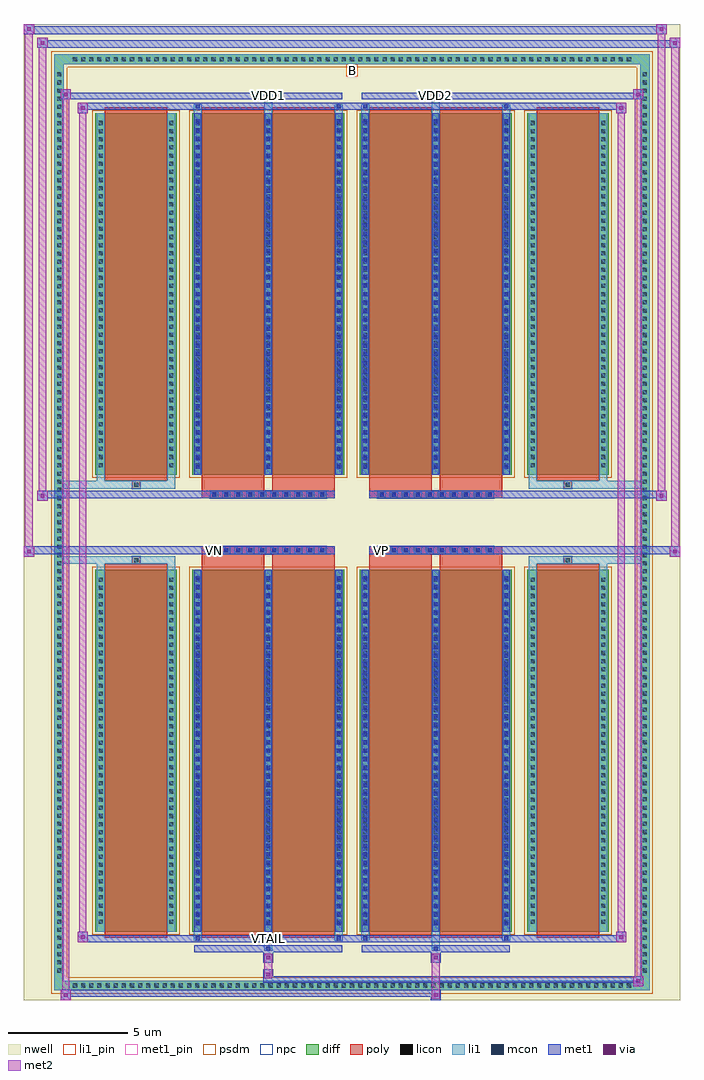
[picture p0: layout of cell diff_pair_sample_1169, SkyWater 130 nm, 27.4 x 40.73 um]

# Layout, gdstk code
import gdstk
lib = gdstk.Library(unit=1e-6, precision=5e-09)
def R(c, l, rs):  # rectangles x0, y0, x1, y1
    for r in rs: c.add(gdstk.rectangle(r[:2], r[2:], *l))
def A(c, l, x, y, w, h, nx, ny, dx, dy):  # array of equal rectangles
    R(c, l, [(x+i*dx, y+j*dy, x+i*dx+w, y+j*dy+h) for i in range(nx) for j in range(ny)])
def P(c, l, *ps):  # polygons
    for p in ps: c.add(gdstk.Polygon(p, *l))
nwell = (64, 20)
diff = (65, 20)
poly = (66, 20)
licon = (66, 44)
li1_pin = (67, 16)
li1 = (67, 20)
mcon = (67, 44)
met1_pin = (68, 16)
met1 = (68, 20)
via = (68, 44)
met2 = (69, 20)
psdm = (94, 20)
npc = (95, 20)

diff_pair_sample_1169 = lib.new_cell('diff_pair_sample_1169')
R(diff_pair_sample_1169, nwell, [(-13.7,-19.93,13.7,20.8), (-11.02,-18.12,-0.01,-0.8), (0.01,-18.12,11.02,-0.8), (-11.02,0.8,-0.01,18.12), (0.01,0.8,11.02,18.12)])
A(diff_pair_sample_1169, diff, -11.765, -19.53, 0.41, 0.41, 69, 2, 0.34, 38.65)
A(diff_pair_sample_1169, diff, -12.43, -18.905, 0.41, 0.41, 1, 111, 0, 0.34)
A(diff_pair_sample_1169, diff, 12.02, -18.905, 0.41, 0.41, 1, 111, 0, 0.34)
R(diff_pair_sample_1169, diff, [(-11.765,-19.53,11.765,-19.12), (-12.43,-18.905,-12.02,18.905), (12.02,-18.905,12.43,18.905), (-10.71,-17.075,-7.31,-1.985), (-6.67,-17.075,-0.32,-1.985), (0.32,-17.075,6.67,-1.985), (7.31,-17.075,10.71,-1.985), (-10.71,1.985,-7.31,17.075), (-6.67,1.985,-0.32,17.075), (0.32,1.985,6.67,17.075), (7.31,1.985,10.71,17.075), (-11.765,19.12,11.765,19.53)])
P(diff_pair_sample_1169, diff, [(12.43,19.53),(-12.43,19.53),(-12.43,-19.12),(-12.02,-19.12),(-12.02,19.12),(12.02,19.12),(12.02,-19.12),(-12.02,-19.12),(-12.43,-19.12),(-12.43,-19.53),(12.43,-19.53)])
A(diff_pair_sample_1169, poly, -5.91, -1.33, 0.33, 0.33, 10, 2, 0.5, 2.33)
A(diff_pair_sample_1169, poly, 1.08, -1.33, 0.33, 0.33, 10, 2, 0.5, 2.33)
R(diff_pair_sample_1169, poly, [(-10.32,-17.325,-7.7,-1.735), (-6.28,-17.325,-3.66,-1.735), (-3.33,-17.325,-0.71,-1.735), (0.71,-17.325,3.33,-1.735), (3.66,-17.325,6.28,-1.735), (7.7,-17.325,10.32,-1.735), (-9.175,-1.735,-8.845,-1.405), (-9.175,-1.735,-8.845,-1.405), (-6.28,-1.735,-3.66,-1.33), (-3.33,-1.735,-0.71,-1.33), (0.71,-1.735,3.33,-1.33), (3.66,-1.735,6.28,-1.33), (8.845,-1.735,9.175,-1.405), (8.845,-1.735,9.175,-1.405), (-6.28,-1.33,-0.71,-1), (0.71,-1.33,6.28,-1), (-6.28,1,-0.71,1.33), (0.71,1,6.28,1.33), (-6.28,1.33,-3.66,1.735), (-3.33,1.33,-0.71,1.735), (0.71,1.33,3.33,1.735), (3.66,1.33,6.28,1.735), (-9.175,1.405,-8.845,1.735), (-9.175,1.405,-8.845,1.735), (8.845,1.405,9.175,1.735), (8.845,1.405,9.175,1.735), (-10.32,1.735,-7.7,17.325), (-6.28,1.735,-3.66,17.325), (-3.33,1.735,-0.71,17.325), (0.71,1.735,3.33,17.325), (3.66,1.735,6.28,17.325), (7.7,1.735,10.32,17.325)])
A(diff_pair_sample_1169, licon, -11.645, -19.41, 0.17, 0.17, 69, 2, 0.34, 38.65)
A(diff_pair_sample_1169, licon, -12.31, -18.785, 0.17, 0.17, 1, 111, 0, 0.34)
A(diff_pair_sample_1169, licon, 12.14, -18.785, 0.17, 0.17, 1, 111, 0, 0.34)
A(diff_pair_sample_1169, licon, -10.57, -16.755, 0.17, 0.17, 1, 43, 0, 0.34)
A(diff_pair_sample_1169, licon, -7.62, -16.755, 0.17, 0.17, 1, 43, 0, 0.34)
A(diff_pair_sample_1169, licon, -6.53, -16.755, 0.17, 0.17, 3, 43, 2.95, 0.34)
A(diff_pair_sample_1169, licon, 0.46, -16.755, 0.17, 0.17, 3, 43, 2.95, 0.34)
A(diff_pair_sample_1169, licon, 7.45, -16.755, 0.17, 0.17, 1, 43, 0, 0.34)
A(diff_pair_sample_1169, licon, 10.4, -16.755, 0.17, 0.17, 1, 43, 0, 0.34)
A(diff_pair_sample_1169, licon, -5.83, -1.25, 0.17, 0.17, 10, 2, 0.5, 2.33)
A(diff_pair_sample_1169, licon, 1.16, -1.25, 0.17, 0.17, 10, 2, 0.5, 2.33)
A(diff_pair_sample_1169, licon, -10.57, 2.305, 0.17, 0.17, 1, 43, 0, 0.34)
A(diff_pair_sample_1169, licon, -7.62, 2.305, 0.17, 0.17, 1, 43, 0, 0.34)
A(diff_pair_sample_1169, licon, -6.53, 2.305, 0.17, 0.17, 3, 43, 2.95, 0.34)
A(diff_pair_sample_1169, licon, 0.46, 2.305, 0.17, 0.17, 3, 43, 2.95, 0.34)
A(diff_pair_sample_1169, licon, 7.45, 2.305, 0.17, 0.17, 1, 43, 0, 0.34)
A(diff_pair_sample_1169, licon, 10.4, 2.305, 0.17, 0.17, 1, 43, 0, 0.34)
R(diff_pair_sample_1169, licon, [(-9.095,-1.655,-8.925,-1.485), (8.925,-1.655,9.095,-1.485), (-9.095,1.485,-8.925,1.655), (8.925,1.485,9.095,1.655)])
R(diff_pair_sample_1169, li1_pin, [(-0.25,18.62,0.25,19.12)])
A(diff_pair_sample_1169, li1, -11.725, -19.49, 0.33, 0.33, 69, 2, 0.34, 38.65)
A(diff_pair_sample_1169, li1, -12.39, -18.865, 0.33, 0.33, 1, 111, 0, 0.34)
A(diff_pair_sample_1169, li1, 12.06, -18.865, 0.33, 0.33, 1, 111, 0, 0.34)
A(diff_pair_sample_1169, li1, -6.61, -17.075, 0.33, 15.09, 3, 2, 2.95, 19.06)
A(diff_pair_sample_1169, li1, 0.38, -17.075, 0.33, 15.09, 3, 2, 2.95, 19.06)
A(diff_pair_sample_1169, li1, -10.65, -16.835, 0.33, 0.33, 1, 43, 0, 0.34)
A(diff_pair_sample_1169, li1, -7.7, -16.835, 0.33, 0.33, 1, 43, 0, 0.34)
A(diff_pair_sample_1169, li1, -6.61, -16.835, 0.33, 0.33, 3, 43, 2.95, 0.34)
A(diff_pair_sample_1169, li1, 0.38, -16.835, 0.33, 0.33, 3, 43, 2.95, 0.34)
A(diff_pair_sample_1169, li1, 7.37, -16.835, 0.33, 0.33, 1, 43, 0, 0.34)
A(diff_pair_sample_1169, li1, 10.32, -16.835, 0.33, 0.33, 1, 43, 0, 0.34)
A(diff_pair_sample_1169, li1, -6.53, -16.815, 0.17, 0.17, 3, 41, 2.95, 0.36)
A(diff_pair_sample_1169, li1, -6.53, -16.815, 0.17, 14.57, 3, 2, 2.95, 19.06)
A(diff_pair_sample_1169, li1, 0.46, -16.815, 0.17, 0.17, 3, 41, 2.95, 0.36)
A(diff_pair_sample_1169, li1, 0.46, -16.815, 0.17, 14.57, 3, 2, 2.95, 19.06)
A(diff_pair_sample_1169, li1, -5.91, -1.33, 0.33, 0.33, 10, 2, 0.5, 2.33)
A(diff_pair_sample_1169, li1, 1.08, -1.33, 0.33, 0.33, 10, 2, 0.5, 2.33)
A(diff_pair_sample_1169, li1, -10.65, 2.225, 0.33, 0.33, 1, 43, 0, 0.34)
A(diff_pair_sample_1169, li1, -7.7, 2.225, 0.33, 0.33, 1, 43, 0, 0.34)
A(diff_pair_sample_1169, li1, -6.61, 2.225, 0.33, 0.33, 3, 43, 2.95, 0.34)
A(diff_pair_sample_1169, li1, 0.38, 2.225, 0.33, 0.33, 3, 43, 2.95, 0.34)
A(diff_pair_sample_1169, li1, 7.37, 2.225, 0.33, 0.33, 1, 43, 0, 0.34)
A(diff_pair_sample_1169, li1, 10.32, 2.225, 0.33, 0.33, 1, 43, 0, 0.34)
A(diff_pair_sample_1169, li1, -6.53, 2.245, 0.17, 0.17, 3, 41, 2.95, 0.36)
A(diff_pair_sample_1169, li1, 0.46, 2.245, 0.17, 0.17, 3, 41, 2.95, 0.36)
R(diff_pair_sample_1169, li1, [(-12.43,-19.53,-12.02,-19.12), (-12.43,-19.53,-12.02,-19.12), (-12.02,-19.53,12.02,-19.12), (12.02,-19.53,12.43,-19.12), (12.02,-19.53,12.43,-19.12), (-12.43,-19.12,-12.02,19.12), (12.02,-19.12,12.43,19.12), (-3.66,-17.88,-3.33,-17.075), (-3.58,-17.88,-3.41,-17.71), (3.33,-17.88,3.66,-17.075), (3.41,-17.88,3.58,-17.71), (-6.61,-17.45,-6.28,-17.075), (-6.53,-17.45,-6.36,-17.28), (-0.71,-17.45,-0.38,-17.075), (-0.63,-17.45,-0.46,-17.28), (0.38,-17.45,0.71,-17.075), (0.46,-17.45,0.63,-17.28), (6.28,-17.45,6.61,-17.075), (6.36,-17.45,6.53,-17.28), (-10.65,-17.075,-10.32,-1.985), (-7.7,-17.075,-7.37,-1.985), (7.37,-17.075,7.7,-1.985), (10.32,-17.075,10.65,-1.985), (-10.65,-1.985,-10.32,-1.405), (-7.7,-1.985,-7.37,-1.405), (7.37,-1.985,7.7,-1.405), (10.32,-1.985,10.65,-1.405), (-12.43,-1.735,-9.175,-1.405), (-10.65,-1.735,-9.175,-1.405), (-9.175,-1.735,-8.845,-1.405), (-8.845,-1.735,-7.37,-1.405), (7.37,-1.735,8.845,-1.405), (8.845,-1.735,9.175,-1.405), (8.845,-1.735,12.43,-1.405), (9.175,-1.735,10.65,-1.405), (-12.43,1.405,-9.175,1.735), (-10.65,1.405,-9.175,1.735), (-10.65,1.405,-10.32,1.985), (-9.175,1.405,-8.845,1.735), (-8.845,1.405,-7.37,1.735), (-7.7,1.405,-7.37,1.985), (7.37,1.405,8.845,1.735), (7.37,1.405,7.7,1.985), (8.845,1.405,9.175,1.735), (8.845,1.405,12.43,1.735), (9.175,1.405,10.65,1.735), (10.32,1.405,10.65,1.985), (-10.65,1.985,-10.32,17.075), (-7.7,1.985,-7.37,17.075), (7.37,1.985,7.7,17.075), (10.32,1.985,10.65,17.075), (-6.61,17.075,-6.28,17.45), (-3.66,17.075,-3.33,17.88), (-0.71,17.075,-0.38,17.45), (0.38,17.075,0.71,17.45), (3.33,17.075,3.66,17.88), (6.28,17.075,6.61,17.45), (-6.53,17.28,-6.36,17.45), (-0.63,17.28,-0.46,17.45), (0.46,17.28,0.63,17.45), (6.36,17.28,6.53,17.45), (-3.58,17.71,-3.41,17.88), (3.41,17.71,3.58,17.88), (-12.43,19.12,-12.02,19.53), (-12.43,19.12,-12.02,19.53), (-12.02,19.12,12.02,19.53), (12.02,19.12,12.43,19.53), (12.02,19.12,12.43,19.53)])
A(diff_pair_sample_1169, mcon, -6.53, -16.815, 0.17, 0.17, 3, 41, 2.95, 0.36)
A(diff_pair_sample_1169, mcon, 0.46, -16.815, 0.17, 0.17, 3, 41, 2.95, 0.36)
A(diff_pair_sample_1169, mcon, -5.83, -1.25, 0.17, 0.17, 10, 2, 0.5, 2.33)
A(diff_pair_sample_1169, mcon, 1.16, -1.25, 0.17, 0.17, 10, 2, 0.5, 2.33)
A(diff_pair_sample_1169, mcon, -6.53, 2.245, 0.17, 0.17, 3, 41, 2.95, 0.36)
A(diff_pair_sample_1169, mcon, 0.46, 2.245, 0.17, 0.17, 3, 41, 2.95, 0.36)
R(diff_pair_sample_1169, mcon, [(-3.58,-17.88,-3.41,-17.71), (3.41,-17.88,3.58,-17.71), (-6.53,-17.45,-6.36,-17.28), (-0.63,-17.45,-0.46,-17.28), (0.46,-17.45,0.63,-17.28), (6.36,-17.45,6.53,-17.28), (-6.53,17.28,-6.36,17.45), (-0.63,17.28,-0.46,17.45), (0.46,17.28,0.63,17.45), (6.36,17.28,6.53,17.45), (-3.58,17.71,-3.41,17.88), (3.41,17.71,3.58,17.88)])
R(diff_pair_sample_1169, met1_pin, [(-3.63,-17.49,-3.36,-17.22), (-5.88,-1.29,-5.61,-1.02), (1.11,-1.29,1.38,-1.02), (-3.63,17.67,-3.36,17.94), (3.36,17.67,3.63,17.94)])
A(diff_pair_sample_1169, met1, -6.59, -17.075, 0.29, 15.09, 3, 2, 2.95, 19.06)
A(diff_pair_sample_1169, met1, 0.4, -17.075, 0.29, 15.09, 3, 2, 2.95, 19.06)
A(diff_pair_sample_1169, met1, -6.59, -16.875, 0.29, 0.29, 3, 41, 2.95, 0.36)
A(diff_pair_sample_1169, met1, 0.4, -16.875, 0.29, 0.29, 3, 41, 2.95, 0.36)
A(diff_pair_sample_1169, met1, -5.89, -1.31, 0.29, 0.29, 10, 2, 0.5, 2.33)
A(diff_pair_sample_1169, met1, 1.1, -1.31, 0.29, 0.29, 10, 2, 0.5, 2.33)
A(diff_pair_sample_1169, met1, -6.59, 2.185, 0.29, 0.29, 3, 41, 2.95, 0.36)
A(diff_pair_sample_1169, met1, 0.4, 2.185, 0.29, 0.29, 3, 41, 2.95, 0.36)
R(diff_pair_sample_1169, met1, [(-12.16,-19.93,-11.73,-19.5), (3.28,-19.93,3.71,-19.5), (-12.16,-19.79,3.71,-19.5), (11.73,-19.36,12.16,-18.93), (-3.71,-19.22,12.16,-18.93), (-3.71,-19.08,-3.28,-18.65), (-3.71,-18.37,-3.28,-17.94), (3.28,-18.37,3.71,-17.94), (-6.59,-17.94,-0.4,-17.65), (-3.64,-17.94,-3.35,-17.65), (0.4,-17.94,6.59,-17.65), (3.35,-17.94,3.64,-17.65), (-11.45,-17.51,-11.02,-17.08), (-11.45,-17.51,-6.59,-17.22), (-6.59,-17.51,-6.3,-17.22), (-6.59,-17.51,-0.4,-17.22), (-0.69,-17.51,-0.4,-17.22), (-0.4,-17.51,0.4,-17.22), (0.4,-17.51,0.69,-17.22), (0.4,-17.51,6.59,-17.22), (6.3,-17.51,6.59,-17.22), (6.59,-17.51,11.45,-17.22), (11.02,-17.51,11.45,-17.08), (-13.7,-1.43,-13.27,-1), (13.27,-1.43,13.7,-1), (-13.7,-1.33,-0.71,-1), (-6.28,-1.33,-0.71,-1), (0.71,-1.33,6.28,-1), (0.71,-1.33,13.7,-1), (-13.13,0.9,-12.7,1.33), (12.7,0.9,13.13,1.33), (-13.13,1,-6.28,1.33), (-6.28,1,-0.71,1.33), (0.71,1,6.28,1.33), (6.28,1,13.13,1.33), (-11.45,17.08,-11.02,17.51), (11.02,17.08,11.45,17.51), (-11.45,17.22,-6.59,17.51), (-6.59,17.22,-6.3,17.51), (-6.59,17.22,-0.4,17.51), (-0.69,17.22,-0.4,17.51), (-0.4,17.22,0.4,17.51), (0.4,17.22,0.69,17.51), (0.4,17.22,6.59,17.51), (6.3,17.22,6.59,17.51), (6.59,17.22,11.45,17.51), (-12.16,17.65,-11.73,18.08), (-12.16,17.65,-6.59,17.94), (-6.59,17.65,-0.4,17.94), (-3.64,17.65,-3.35,17.94), (0.4,17.65,6.59,17.94), (3.35,17.65,3.64,17.94), (6.59,17.65,12.16,17.94), (11.73,17.65,12.16,18.08), (-13.13,19.8,-12.7,20.23), (-13.13,19.8,-11.02,20.13), (-11.02,19.8,11.02,20.13), (11.02,19.8,13.7,20.13), (13.27,19.8,13.7,20.23), (-13.7,20.37,-13.27,20.8), (-13.7,20.37,-11.02,20.7), (-11.02,20.37,11.02,20.7), (11.02,20.37,13.13,20.7), (12.7,20.37,13.13,20.8)])
R(diff_pair_sample_1169, via, [(-12.02,-19.79,-11.87,-19.64), (3.42,-19.79,3.57,-19.64), (11.87,-19.22,12.02,-19.07), (-3.57,-18.94,-3.42,-18.79), (-3.57,-18.23,-3.42,-18.08), (3.42,-18.23,3.57,-18.08), (-11.31,-17.37,-11.16,-17.22), (11.16,-17.37,11.31,-17.22), (-13.56,-1.29,-13.41,-1.14), (13.41,-1.29,13.56,-1.14), (-12.99,1.04,-12.84,1.19), (12.84,1.04,12.99,1.19), (-11.31,17.22,-11.16,17.37), (11.16,17.22,11.31,17.37), (-12.02,17.79,-11.87,17.94), (11.87,17.79,12.02,17.94), (-12.99,19.94,-12.84,20.09), (13.41,19.94,13.56,20.09), (-13.56,20.51,-13.41,20.66), (12.84,20.51,12.99,20.66)])
R(diff_pair_sample_1169, met2, [(-12.16,-19.93,-11.73,-19.5), (-12.09,-19.93,-11.8,18.08), (-11.8,-19.93,-11.73,-19.5), (-12.11,-19.88,-11.78,-19.55), (3.33,-19.88,3.66,-19.55), (3.33,-19.55,3.66,-18.32), (11.73,-19.36,12.16,-18.93), (11.8,-19.36,12.09,18.08), (12.09,-19.36,12.16,-18.93), (11.78,-19.31,12.11,-18.98), (-3.66,-19.03,-3.33,-18.7), (-3.66,-18.7,-3.33,-18.32), (-3.66,-18.32,-3.33,-17.99), (3.33,-18.32,3.66,-17.99), (-11.45,-17.51,-11.02,-17.08), (-11.38,-17.51,-11.09,17.51), (-11.09,-17.51,-11.02,-17.08), (11.02,-17.51,11.45,-17.08), (11.09,-17.51,11.38,17.51), (11.38,-17.51,11.45,-17.08), (-11.4,-17.46,-11.07,-17.13), (11.07,-17.46,11.4,-17.13), (-13.7,-1.43,-13.27,-1), (-13.65,-1.43,-13.32,20.8), (-13.32,-1.43,-13.27,-1), (13.27,-1.43,13.7,-1), (13.32,-1.43,13.65,20.23), (13.65,-1.43,13.7,-1), (-13.65,-1.38,-13.32,-1.05), (13.32,-1.38,13.65,-1.05), (-13.13,0.9,-12.7,1.33), (-13.08,0.9,-12.75,20.23), (-12.75,0.9,-12.7,1.33), (12.7,0.9,13.13,1.33), (12.75,0.9,13.08,20.8), (13.08,0.9,13.13,1.33), (-13.08,0.95,-12.75,1.28), (12.75,0.95,13.08,1.28), (-11.45,17.08,-11.02,17.51), (-11.09,17.08,-11.02,17.51), (11.02,17.08,11.45,17.51), (11.38,17.08,11.45,17.51), (-11.4,17.13,-11.07,17.46), (11.07,17.13,11.4,17.46), (-12.16,17.65,-11.73,18.08), (-11.8,17.65,-11.73,18.08), (11.73,17.65,12.16,18.08), (12.09,17.65,12.16,18.08), (-12.11,17.7,-11.78,18.03), (11.78,17.7,12.11,18.03), (-13.13,19.8,-12.7,20.23), (-12.75,19.8,-12.7,20.23), (13.27,19.8,13.7,20.23), (13.65,19.8,13.7,20.23), (-13.08,19.85,-12.75,20.18), (13.32,19.85,13.65,20.18), (-13.7,20.37,-13.27,20.8), (-13.32,20.37,-13.27,20.8), (12.7,20.37,13.13,20.8), (13.08,20.37,13.13,20.8), (-13.65,20.42,-13.32,20.75), (12.75,20.42,13.08,20.75)])
R(diff_pair_sample_1169, psdm, [(-10.84,-17.205,-7.18,-1.855), (-6.8,-17.205,-0.19,-1.855), (0.19,-17.205,6.8,-1.855), (7.18,-17.205,10.84,-1.855), (-10.84,1.855,-7.18,17.205), (-6.8,1.855,-0.19,17.205), (0.19,1.855,6.8,17.205), (7.18,1.855,10.84,17.205)])
P(diff_pair_sample_1169, psdm, [(12.56,19.66),(-12.56,19.66),(-12.56,-18.99),(-11.89,-18.99),(-11.89,18.99),(11.89,18.99),(11.89,-18.99),(-11.89,-18.99),(-12.56,-18.99),(-12.56,-19.66),(12.56,-19.66)])
A(diff_pair_sample_1169, npc, -5.93, -1.35, 0.37, 0.37, 10, 2, 0.5, 2.33)
A(diff_pair_sample_1169, npc, 1.06, -1.35, 0.37, 0.37, 10, 2, 0.5, 2.33)
R(diff_pair_sample_1169, npc, [(-9.195,-1.755,-8.825,-1.385), (8.825,-1.755,9.195,-1.385), (-5.93,-1.35,-5.06,-0.98), (-5.93,-1.35,-5.06,-0.98), (-5.43,-1.35,-4.56,-0.98), (-5.43,-1.35,-4.56,-0.98), (-4.93,-1.35,-4.06,-0.98), (-4.93,-1.35,-4.06,-0.98), (-4.43,-1.35,-3.56,-0.98), (-4.43,-1.35,-3.56,-0.98), (-3.93,-1.35,-3.06,-0.98), (-3.93,-1.35,-3.06,-0.98), (-3.43,-1.35,-2.56,-0.98), (-3.43,-1.35,-2.56,-0.98), (-2.93,-1.35,-2.06,-0.98), (-2.93,-1.35,-2.06,-0.98), (-2.43,-1.35,-1.56,-0.98), (-2.43,-1.35,-1.56,-0.98), (-1.93,-1.35,-1.06,-0.98), (-1.93,-1.35,-1.06,-0.98), (1.06,-1.35,1.93,-0.98), (1.06,-1.35,1.93,-0.98), (1.56,-1.35,2.43,-0.98), (1.56,-1.35,2.43,-0.98), (2.06,-1.35,2.93,-0.98), (2.06,-1.35,2.93,-0.98), (2.56,-1.35,3.43,-0.98), (2.56,-1.35,3.43,-0.98), (3.06,-1.35,3.93,-0.98), (3.06,-1.35,3.93,-0.98), (3.56,-1.35,4.43,-0.98), (3.56,-1.35,4.43,-0.98), (4.06,-1.35,4.93,-0.98), (4.06,-1.35,4.93,-0.98), (4.56,-1.35,5.43,-0.98), (4.56,-1.35,5.43,-0.98), (5.06,-1.35,5.93,-0.98), (5.06,-1.35,5.93,-0.98), (-5.93,0.98,-5.06,1.35), (-5.93,0.98,-5.06,1.35), (-5.43,0.98,-4.56,1.35), (-5.43,0.98,-4.56,1.35), (-4.93,0.98,-4.06,1.35), (-4.93,0.98,-4.06,1.35), (-4.43,0.98,-3.56,1.35), (-4.43,0.98,-3.56,1.35), (-3.93,0.98,-3.06,1.35), (-3.93,0.98,-3.06,1.35), (-3.43,0.98,-2.56,1.35), (-3.43,0.98,-2.56,1.35), (-2.93,0.98,-2.06,1.35), (-2.93,0.98,-2.06,1.35), (-2.43,0.98,-1.56,1.35), (-2.43,0.98,-1.56,1.35), (-1.93,0.98,-1.06,1.35), (-1.93,0.98,-1.06,1.35), (1.06,0.98,1.93,1.35), (1.06,0.98,1.93,1.35), (1.56,0.98,2.43,1.35), (1.56,0.98,2.43,1.35), (2.06,0.98,2.93,1.35), (2.06,0.98,2.93,1.35), (2.56,0.98,3.43,1.35), (2.56,0.98,3.43,1.35), (3.06,0.98,3.93,1.35), (3.06,0.98,3.93,1.35), (3.56,0.98,4.43,1.35), (3.56,0.98,4.43,1.35), (4.06,0.98,4.93,1.35), (4.06,0.98,4.93,1.35), (4.56,0.98,5.43,1.35), (4.56,0.98,5.43,1.35), (5.06,0.98,5.93,1.35), (5.06,0.98,5.93,1.35), (-9.195,1.385,-8.825,1.755), (8.825,1.385,9.195,1.755)])
diff_pair_sample_1169.add(gdstk.Label('VTAIL', (-3.495,-17.355), layer=68, texttype=5))
diff_pair_sample_1169.add(gdstk.Label('VN', (-5.745,-1.155), layer=68, texttype=5))
diff_pair_sample_1169.add(gdstk.Label('VP', (1.245,-1.155), layer=68, texttype=5))
diff_pair_sample_1169.add(gdstk.Label('B', (0,18.87), layer=67, texttype=5))
diff_pair_sample_1169.add(gdstk.Label('VDD2', (3.495,17.805), layer=68, texttype=5))
diff_pair_sample_1169.add(gdstk.Label('VDD1', (-3.495,17.805), layer=68, texttype=5))

lib.write_gds('diff_pair_sample_1169.gds')
